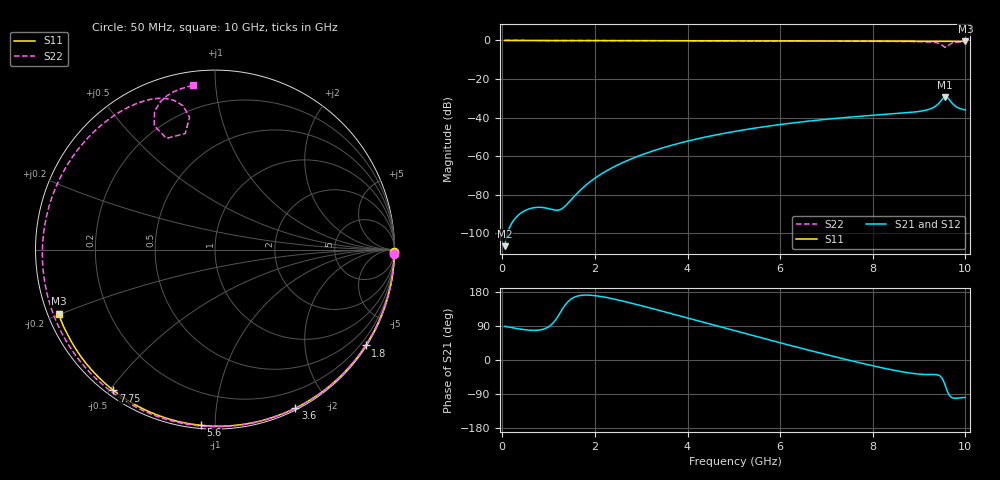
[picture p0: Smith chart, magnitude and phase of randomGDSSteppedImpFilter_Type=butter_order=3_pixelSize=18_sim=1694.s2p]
! freq	dB(S11)	phase(S11)	dB(S12)	phase(S12)
!  dB(S21)	phase(S21)	dB(S22)	phase(S22)
!S-par simulation data
#  GHz  S  DB  R 50
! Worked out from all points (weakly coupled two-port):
!   200 points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, 50 MHz to 10 GHz, reference 50 ohm
!   highest |S21| = -29.28 dB at 9.55 GHz (marker M1); lowest = -106.7 dB at 50 MHz (marker M2)
!   lowest |S11| = -0.5 dB at 10 GHz (marker M3), VSWR 33.25, Z = 1.56 - j9.83 ohm
!   |S11| at or under -10 dB: nowhere
!   |S22| runs from -3.5 to 0.0 dB; largest |S21 - S12| = 0
!   S11 on the Smith chart (normalised r, x): 50 MHz: open; 1.8 GHz: 0.03, -3.44; 3.6 GHz: 0.02, -1.63; 5.6 GHz: 0.02, -0.92; 7.75 GHz: 0.02, -0.51; 10 GHz: 0.03, -0.20
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0.05  -0.00 -0.9  -106.71 88.9  -106.71 88.9  -0.00 -1.5
0.75  -0.02 -13.7  -86.57 78.6  -86.57 78.6  -0.03 -22.0
1.55  -0.04 -28.0  -80.93 165.4  -80.93 165.4  -0.06 -44.8
1.75  -0.04 -31.6  -76.19 171.2  -76.19 171.2  -0.06 -50.4
1.8  -0.04 -32.5  -75.15 171.4  -75.15 171.4  -0.07 -51.8
2.45  -0.06 -43.8  -65.08 159.8  -65.08 159.8  -0.09 -69.4
3.4  -0.08 -59.8  -56.17 130.5  -56.17 130.5  -0.12 -94.0
3.6  -0.08 -63.1  -54.75 124.0  -54.75 124.0  -0.13 -99.0
4.3  -0.11 -74.5  -50.55 100.8  -50.55 100.8  -0.16 -116.1
5.05  -0.13 -86.2  -47.05 76.1  -47.05 76.1  -0.20 -134.0
5.6  -0.16 -94.6  -44.94 58.2  -44.94 58.2  -0.23 -147.0
6.7  -0.22 -110.8  -41.62 23.3  -41.62 23.3  -0.32 -173.4
7.75  -0.29 -125.8  -39.29 -8.2  -39.29 -8.2  -0.42 159.8
8.35  -0.34 -134.3  -38.21 -24.5  -38.21 -24.5  -0.49 143.1
8.9  -0.40 -142.0  -37.11 -35.9  -37.11 -35.9  -0.59 126.1
9.3  -0.45 -147.7  -34.90 -38.2  -34.90 -38.2  -0.91 110.6
9.45  -0.47 -149.8  -32.01 -41.8  -32.01 -41.8  -1.71 102.6
9.55  -0.47 -151.2  -29.28 -61.8  -29.28 -61.8  -3.51 104.4
9.6  -0.47 -151.9  -29.29 -79.4  -29.29 -79.4  -3.40 113.6
9.7  -0.48 -153.4  -32.15 -98.9  -32.15 -98.9  -1.52 113.7
9.85  -0.50 -155.6  -35.01 -100.4  -35.01 -100.4  -0.83 104.6
10  -0.52 -157.7  -36.04 -98.7  -36.04 -98.7  -0.70 97.5
